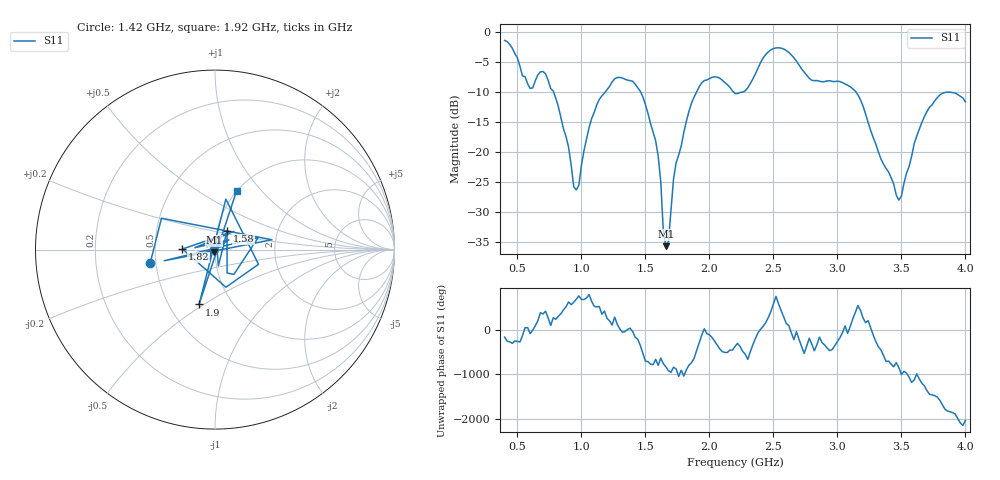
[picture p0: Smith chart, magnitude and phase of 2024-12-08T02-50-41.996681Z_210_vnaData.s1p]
!Created with skrf (http://scikit-rf.org).
# Hz S RI R 50.0
!freq ReS11 ImS11
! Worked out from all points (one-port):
!   181 points, 400 MHz to 4 GHz, reference 50 ohm
!   lowest |S11| = -35.7 dB at 1.66 GHz (marker M1), VSWR 1.03, Z = 49.3 - j1.49 ohm
!   |S11| at or under -10 dB: 783.4 MHz to 1.185 GHz (402 MHz wide, 40.8 % of centre); 1.464 GHz to 1.899 GHz (435.2 MHz wide, 25.9 % of centre); 3.146 GHz to 3.853 GHz (707 MHz wide, 20.2 % of centre) (the widest 3 of 5)
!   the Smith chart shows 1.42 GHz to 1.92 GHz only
!   S11 on the Smith chart (normalised r, x): 1.42 GHz: 0.46, -0.08; 1.58 GHz: 1.12, +0.24; 1.82 GHz: 0.69, +0.00; 1.9 GHz: 0.70, -0.48; 1.92 GHz: 1.00, +0.75
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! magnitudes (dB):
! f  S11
! 400 MHz  -1.4
! 600 MHz  -9.4
! 720 MHz  -6.9
! 860 MHz  -16.1
! 960 MHz  -26.3
! 1.12 GHz  -12.1
! 1.3 GHz  -7.5
! 1.42 GHz  -8.6
! 1.58 GHz  -18.1
! 1.62 GHz  -24.9
! 1.66 GHz  -35.7
! 1.68 GHz  -34.9
! 1.72 GHz  -24.4
! 1.76 GHz  -20.5
! 1.82 GHz  -14.8
! 1.9 GHz  -9.9
! 1.92 GHz  -9.1
! 2.06 GHz  -7.5
! 2.2 GHz  -10.2
! 2.48 GHz  -2.9
! 2.66 GHz  -4.3
! 2.8 GHz  -8.0
! 3.1 GHz  -9.1
! 3.48 GHz  -28.0
! 3.56 GHz  -22.4
! 3.66 GHz  -15.0
! 3.78 GHz  -10.9
! 4 GHz  -11.6
